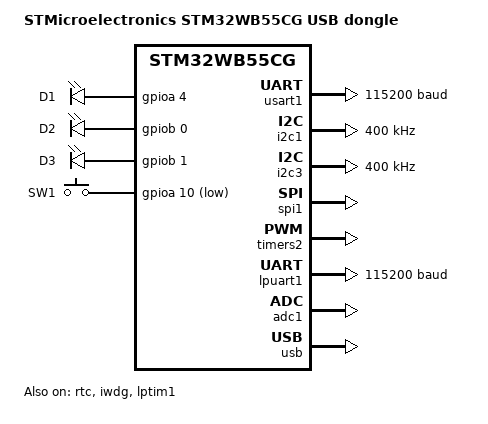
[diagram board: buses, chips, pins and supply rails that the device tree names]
/*
 * Copyright (c) 2020 Pete Johanson
 *
 * SPDX-License-Identifier: Apache-2.0
 */

/dts-v1/;
#include <st/wb/stm32wb55Xg.dtsi>

/ {
	model = "STMicroelectronics STM32WB55CG USB dongle";
	compatible = "st,stm32wb55cg-dongle", "st,stm32wb55cg";

	chosen {
		zephyr,console = &usart1;
		zephyr,shell-uart = &usart1;
		zephyr,bt-mon-uart = &lpuart1;
		zephyr,sram = &sram0;
		zephyr,flash = &flash0;
		zephyr,code-partition = &slot0_partition;
	};

	leds {
		compatible = "gpio-leds";
		blue_led_1: led_0 {
			gpios = <&gpioa 4 GPIO_ACTIVE_HIGH>;
			label = "D1";
		};
		green_led_2: led_1 {
			gpios = <&gpiob 0 GPIO_ACTIVE_HIGH>;
			label = "D2";
		};
		red_led_3: led_2 {
			gpios = <&gpiob 1 GPIO_ACTIVE_HIGH>;
			label = "D3";
		};
	};

	gpio_keys {
		compatible = "gpio-keys";
		user_button_1: button_0 {
			label = "SW1";
			gpios = <&gpioa 10 (GPIO_ACTIVE_LOW | GPIO_PULL_UP)>;
		};
	};

	aliases {
		led0 = &blue_led_1;
		led1 = &green_led_2;
		led2 = &red_led_3;
		sw0 = &user_button_1;
	};
};

&usart1 {
	current-speed = <115200>;
	status = "okay";
};

&i2c1 {
	status = "okay";
	clock-frequency = <I2C_BITRATE_FAST>;
};

&i2c3 {
	status = "okay";
	clock-frequency = <I2C_BITRATE_FAST>;
};

&rtc {
	status = "okay";
};

&spi1 {
	status = "okay";
};

&timers2 {
	status = "okay";
	pwm2: pwm {
		status = "okay";
	};
};

&lpuart1 {
	current-speed = <115200>;
	status = "okay";
};

&adc1 {
	status = "okay";
};

&iwdg {
	status = "okay";
};

&lptim1 {
	status = "okay";
};

&usb {
	status = "okay";
};

&flash0 {
	/*
	 * For more information, see:
	 * http://docs.zephyrproject.org/latest/devices/dts/flash_partitions.html
	 */
	partitions {
		compatible = "fixed-partitions";
		#address-cells = <1>;
		#size-cells = <1>;

		/* Set all partitions with first 812K of flash */
		/* last 212K are reseved for M0 usage */
		/* Configure partitions to make use of the whole 812K */

		boot_partition: partition@0 {
			label = "mcuboot";
			reg = <0x00000000 0xc000>;
		};
		slot0_partition: partition@c000 {
			label = "image-0";
			reg = <0x0000C000 0x5c000>;
		};
		slot1_partition: partition@68000 {
			label = "image-1";
			reg = <0x00068000 0x5c000>;
		};
		scratch_partition: partition@c4000 {
			label = "image-scratch";
			reg = <0x000c4000 0x4000>;
		};
		storage_partition: partition@c8000 {
			label = "storage";
			reg = <0x000c8000 0x3000>;
		};

	};
};
